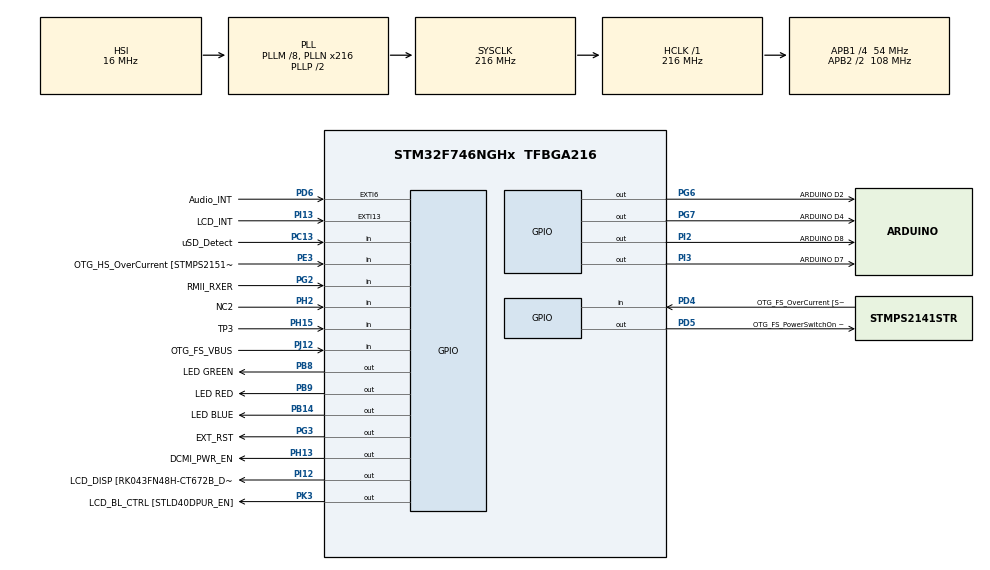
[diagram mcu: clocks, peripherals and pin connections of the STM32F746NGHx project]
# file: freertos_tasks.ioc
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Mcu.Family=STM32F7
Mcu.Name=STM32F746NGHx
Mcu.Package=TFBGA216
NVIC.PriorityGroup=NVIC_PRIORITYGROUP_4
NVIC.TIM6_DAC_IRQn=true\:15\:0\:false\:false\:true\:false\:true\:true
NVIC.TimeBase=TIM6_DAC_IRQn
NVIC.TimeBaseIP=TIM6
PA0/WKUP.GPIO_Label=ARDUINO A0
PA0/WKUP.GPIO_Mode=GPIO_MODE_ANALOG
PA0/WKUP.GPIO_PuPd=GPIO_NOPULL
PA0/WKUP.Signal=ADCx_IN0
PA1.GPIO_Label=RMII_REF_CLK [LAN8742A-CZ-TR_REFCLK0]
PA1.Signal=ETH_REF_CLK
PA10.GPIO_Label=OTG_FS_ID
PA10.Signal=USB_OTG_FS_ID
PA11.GPIO_Label=OTG_FS_N
PA11.Signal=USB_OTG_FS_DM
PA12.GPIO_Label=OTG_FS_P
PA12.Signal=USB_OTG_FS_DP
PA13.GPIO_Label=SWDIO
PA13.Signal=SYS_JTMS-SWDIO
PA14.GPIO_Label=SWCLK
PA14.Signal=SYS_JTCK-SWCLK
PA15.GPIO_Label=ARDUINO PWM/D9
PA15.GPIO_ModeDefaultPP=GPIO_MODE_AF_PP
PA15.GPIO_PuPd=GPIO_NOPULL
PA15.GPIO_Speed=GPIO_SPEED_FREQ_LOW
PA15.Signal=S_TIM2_CH1_ETR
PA2.GPIO_Label=RMII_MDIO [LAN8742A-CZ-TR_MDIO]
PA2.Signal=ETH_MDIO
PA3.GPIO_Label=ULPI_D0 [USB3320C-EZK_D0]
PA3.Signal=USB_OTG_HS_ULPI_D0
PA4.GPIO_Label=DCMI_HSYNC
PA4.Signal=DCMI_HSYNC
PA5.GPIO_Label=ULPI_CLK [USB3320C-EZK_CLKOUT]
PA5.Signal=USB_OTG_HS_ULPI_CK
PA6.Signal=DCMI_PIXCLK
PA7.GPIO_Label=RMII_CRS_DV [LAN8742A-CZ-TR_CRS_DV]
PA7.Signal=ETH_CRS_DV
PA8.GPIO_Label=ARDUINO PWM/D10
PA8.GPIO_ModeDefaultPP=GPIO_MODE_AF_PP
PA8.GPIO_PuPd=GPIO_NOPULL
PA8.GPIO_Speed=GPIO_SPEED_FREQ_LOW
PA8.Signal=S_TIM1_CH1
PA9.GPIO_Label=VCP_TX [STM32F103CBT6_PA3]
PA9.GPIO_Mode=GPIO_MODE_AF_PP
PA9.GPIO_PuPd=GPIO_NOPULL
PA9.GPIO_Speed=GPIO_SPEED_FREQ_LOW
PA9.Signal=USART1_TX
PB0.GPIO_Label=ULPI_D1 [USB3320C-EZK_D1]
PB0.Signal=USB_OTG_HS_ULPI_D1
PB1.GPIO_Label=ULPI_D2 [USB3320C-EZK_D2]
PB1.Signal=USB_OTG_HS_ULPI_D2
PB10.GPIO_Label=ULPI_D3 [USB3320C-EZK_D3]
PB10.Signal=USB_OTG_HS_ULPI_D3
PB11.GPIO_Label=ULPI_D4 [USB3320C-EZK_D4]
PB11.Signal=USB_OTG_HS_ULPI_D4
PB12.GPIO_Label=ULPI_D5 [USB3320C-EZK_D5]
PB12.Signal=USB_OTG_HS_ULPI_D5
PB13.GPIO_Label=ULPI_D6 [USB3320C-EZK_D6]
PB13.Signal=USB_OTG_HS_ULPI_D6
PB14.GPIO_Label=LED BLUE
PB14.Signal=GPIO_Output
PB15.GPIO_Label=ARDUINO MOSI/PWM/D11
PB15.GPIO_Mode=GPIO_MODE_AF_PP
PB15.GPIO_PuPd=GPIO_NOPULL
PB15.GPIO_Speed=GPIO_SPEED_FREQ_LOW
PB15.Signal=SPI2_MOSI
PB2.Signal=QUADSPI_CLK
PB3.GPIO_Label=SWO
PB3.Signal=SYS_JTDO-SWO
PB4.GPIO_Label=ARDUINO PWM/D3
PB4.GPIO_ModeDefaultPP=GPIO_MODE_AF_PP
PB4.GPIO_PuPd=GPIO_NOPULL
PB4.GPIO_Speed=GPIO_SPEED_FREQ_LOW
PB4.Signal=S_TIM3_CH1
PB5.GPIO_Label=ULPI_D7 [USB3320C-EZK_D7]
PB5.Signal=USB_OTG_HS_ULPI_D7
PB6.GPIO_Label=QSPI_NCS [N25Q128A13EF840E_S]
PB6.Signal=QUADSPI_BK1_NCS
PB7.GPIO_Label=VCP_RX [STM32F103CBT6_PA2]
PB7.GPIO_Mode=GPIO_MODE_AF_PP
PB7.GPIO_PuPd=GPIO_NOPULL
PB7.GPIO_Speed=GPIO_SPEED_FREQ_LOW
PB7.Signal=USART1_RX
PB8.GPIO_Label=LED GREEN
PB8.Signal=GPIO_Output
PB9.GPIO_Label=LED RED
PB9.Signal=GPIO_Output
PC0.GPIO_Label=ULPI_STP [USB3320C-EZK_STP]
PC0.Signal=USB_OTG_HS_ULPI_STP
PC1.GPIO_Label=RMII_MDC [LAN8742A-CZ-TR_MDC]
PC1.Signal=ETH_MDC
PC10.GPIO_Label=SDMMC_D2
PC10.Signal=SDMMC1_D2
PC11.GPIO_Label=SDMMC_D3
PC11.Signal=SDMMC1_D3
PC12.GPIO_Label=SDMMC_CK
PC12.Signal=SDMMC1_CK
PC13.GPIO_Label=uSD_Detect
PC13.Signal=GPIO_Input
PC14/OSC32_IN.GPIO_Label=RCC_OSC32_IN
PC14/OSC32_IN.Signal=RCC_OSC32_IN
PC15/OSC32_OUT.GPIO_Label=RCC_OSC32_OUT
PC15/OSC32_OUT.Signal=RCC_OSC32_OUT
PC2.GPIO_Label=ULPI_DIR [USB3320C-EZK_DIR]
PC2.Signal=USB_OTG_HS_ULPI_DIR
PC3.GPIO_Label=FMC_SDCKE0 [MT48LC4M32B2B5-6A_CKE]
PC3.Signal=FMC_SDCKE0
PC4.GPIO_Label=RMII_RXD0 [LAN8742A-CZ-TR_RXD0]
PC4.Signal=ETH_RXD0
PC5.GPIO_Label=RMII_RXD1 [LAN8742A-CZ-TR_RXD1]
PC5.Signal=ETH_RXD1
PC6.GPIO_Label=ARDUINO TX/D1
PC6.Signal=USART6_TX
PC7.GPIO_Label=ARDUINO RX/D0
PC7.Signal=USART6_RX
PC8.Signal=SDMMC1_D0
PC9.Signal=SDMMC1_D1
PD0.GPIO_Label=FMC_D2 [MT48LC4M32B2B5-6A_DQ2]
PD0.Signal=FMC_D2_DA2
PD1.GPIO_Label=FMC_D3 [MT48LC4M32B2B5-6A_DQ3]
PD1.Signal=FMC_D3_DA3
PD10.GPIO_Label=FMC_D15 [MT48LC4M32B2B5-6A_DQ15]
PD10.Signal=FMC_D15_DA15
PD11.GPIO_Label=QSPI_D0 [N25Q128A13EF840E_DQ0]
PD11.Signal=QUADSPI_BK1_IO0
PD12.GPIO_Label=QSPI_D1 [N25Q128A13EF840E_DQ1]
PD12.Signal=QUADSPI_BK1_IO1
PD13.GPIO_Label=QSPI_D3 [N25Q128A13EF840E_DQ3]
PD13.Signal=QUADSPI_BK1_IO3
PD14.GPIO_Label=FMC_D0 [MT48LC4M32B2B5-6A_DQ0]
PD14.Signal=FMC_D0_DA0
PD15.GPIO_Label=FMC_D1 [MT48LC4M32B2B5-6A_DQ1]
PD15.Signal=FMC_D1_DA1
PD2.GPIO_Label=SDMMC_D0
PD2.Signal=SDMMC1_CMD
PD3.GPIO_Label=DCMI_D5
PD3.Signal=DCMI_D5
PD4.GPIO_Label=OTG_FS_OverCurrent [STMPS2141STR_Fault]
PD4.Signal=GPIO_Input
PD5.GPIO_Label=OTG_FS_PowerSwitchOn [STMPS2141STR_EN]
PD5.PinState=GPIO_PIN_SET
PD5.Signal=GPIO_Output
PD6.GPIO_Label=Audio_INT
PD6.GPIO_ModeDefaultEXTI=GPIO_MODE_EVT_RISING
PD6.Signal=GPXTI6
PD7.GPIO_Label=SPDIF_RX0 [74LVC1G04SE_4]
PD7.Signal=SPDIFRX_IN0
PD8.GPIO_Label=FMC_D13 [MT48LC4M32B2B5-6A_DQ13]
PD8.Signal=FMC_D13_DA13
PD9.GPIO_Label=FMC_D14 [MT48LC4M32B2B5-6A_DQ14]
PD9.Signal=FMC_D14_DA14
PE0.GPIO_Label=FMC_NBL0 [MT48LC4M32B2B5-6A_DQM0]
PE0.Signal=FMC_NBL0
PE1.GPIO_Label=FMC_NBL1 [MT48LC4M32B2B5-6A_DQM1]
PE1.Signal=FMC_NBL1
PE10.GPIO_Label=FMC_D7 [MT48LC4M32B2B5-6A_DQ7]
PE10.Signal=FMC_D7_DA7
PE11.GPIO_Label=FMC_D8 [MT48LC4M32B2B5-6A_DQ8]
PE11.Signal=FMC_D8_DA8
PE12.GPIO_Label=FMC_D9 [MT48LC4M32B2B5-6A_DQ9]
PE12.Signal=FMC_D9_DA9
PE13.GPIO_Label=FMC_D10 [MT48LC4M32B2B5-6A_DQ10]
PE13.Signal=FMC_D10_DA10
PE14.GPIO_Label=FMC_D11 [MT48LC4M32B2B5-6A_DQ11]
PE14.Signal=FMC_D11_DA11
PE15.GPIO_Label=FMC_D12 [MT48LC4M32B2B5-6A_DQ12]
PE15.Signal=FMC_D12_DA12
PE2.GPIO_Label=QSPI_D2 [N25Q128A13EF840E_DQ2]
PE2.Signal=QUADSPI_BK1_IO2
PE3.GPIO_Label=OTG_HS_OverCurrent [STMPS2151STR_FAULT]
PE3.Signal=GPIO_Input
PE4.GPIO_Label=LCD_B0 [RK043FN48H-CT672B_B0]
PE4.Signal=LTDC_B0
PE5.GPIO_Label=DCMI_D6
PE5.Signal=DCMI_D6
PE6.GPIO_Label=DCMI_D7
PE6.Signal=DCMI_D7
PE7.GPIO_Label=FMC_D4 [MT48LC4M32B2B5-6A_DQ4]
PE7.Signal=FMC_D4_DA4
PE8.GPIO_Label=FMC_D5 [MT48LC4M32B2B5-6A_DQ5]
PE8.Signal=FMC_D5_DA5
PE9.GPIO_Label=FMC_D6 [MT48LC4M32B2B5-6A_DQ6]
PE9.Signal=FMC_D6_DA6
PF0.GPIO_Label=FMC_A0 [MT48LC4M32B2B5-6A_A0]
PF0.Signal=FMC_A0
PF1.GPIO_Label=FMC_A1 [MT48LC4M32B2B5-6A_A1]
PF1.Signal=FMC_A1
PF10.GPIO_Label=ARDUINO A1
PF10.GPIO_Mode=GPIO_MODE_ANALOG
PF10.GPIO_PuPd=GPIO_NOPULL
PF10.Signal=ADC3_IN8
PF11.GPIO_Label=FMC_SDNRAS [MT48LC4M32B2B5-6A_RAS]
PF11.Signal=FMC_SDNRAS
PF12.GPIO_Label=FMC_A6 [MT48LC4M32B2B5-6A_A6]
PF12.Signal=FMC_A6
PF13.GPIO_Label=FMC_A7 [MT48LC4M32B2B5-6A_A7]
PF13.Signal=FMC_A7
PF14.GPIO_Label=FMC_A8 [MT48LC4M32B2B5-6A_A8]
PF14.Signal=FMC_A8
PF15.GPIO_Label=FMC_A9 [MT48LC4M32B2B5-6A_A9]
PF15.Signal=FMC_A9
PF2.GPIO_Label=FMC_A2 [MT48LC4M32B2B5-6A_A2]
PF2.Signal=FMC_A2
PF3.GPIO_Label=FMC_A3 [MT48LC4M32B2B5-6A_A3]
PF3.Signal=FMC_A3
PF4.GPIO_Label=FMC_A4 [MT48LC4M32B2B5-6A_A4]
PF4.Signal=FMC_A4
PF5.GPIO_Label=FMC_A5 [MT48LC4M32B2B5-6A_A5]
PF5.Signal=FMC_A5
PF6.GPIO_Label=ARDUINO A5
PF6.GPIO_Mode=GPIO_MODE_ANALOG
PF6.GPIO_PuPd=GPIO_NOPULL
PF6.Signal=ADC3_IN4
PF7.GPIO_Label=ARDUINO A4
PF7.GPIO_Mode=GPIO_MODE_ANALOG
PF7.GPIO_PuPd=GPIO_NOPULL
PF7.Signal=ADC3_IN5
PF8.GPIO_Label=ARDUINO A3
PF8.GPIO_Mode=GPIO_MODE_ANALOG
PF8.GPIO_PuPd=GPIO_NOPULL
PF8.Signal=ADC3_IN6
PF9.GPIO_Label=ARDUINO A2
PF9.GPIO_Mode=GPIO_MODE_ANALOG
PF9.GPIO_PuPd=GPIO_NOPULL
PF9.Signal=ADC3_IN7
PG0.GPIO_Label=FMC_A10 [MT48LC4M32B2B5-6A_A10]
PG0.Signal=FMC_A10
PG1.GPIO_Label=FMC_A11 [MT48LC4M32B2B5-6A_A11]
PG1.Signal=FMC_A11
PG10.GPIO_Label=SAI2_SDB [WM8994ECS/R_ADCDAT1]
PG10.Signal=SAI2_SD_B
PG11.GPIO_Label=RMII_TX_EN [LAN8742A-CZ-TR_TXEN]
PG11.Signal=ETH_TX_EN
PG12.GPIO_Label=LCD_B4 [RK043FN48H-CT672B_B4]
PG12.Signal=LTDC_B4
PG13.GPIO_Label=RMII_TXD0 [LAN8742A-CZ-TR_TXD0]
PG13.Signal=ETH_TXD0
PG14.GPIO_Label=RMII_TXD1 [LAN8742A-CZ-TR_TXD1]
PG14.Signal=ETH_TXD1
PG15.GPIO_Label=FMC_SDNCAS [MT48LC4M32B2B5-6A_CAS]
PG15.Signal=FMC_SDNCAS
PG2.GPIO_Label=RMII_RXER
PG2.Signal=GPIO_Input
PG3.GPIO_Label=EXT_RST
PG3.Signal=GPIO_Output
PG4.GPIO_Label=FMC_BA0 [MT48LC4M32B2B5-6A_BA0]
PG4.Signal=FMC_A14_BA0
PG5.GPIO_Label=FMC_BA1 [MT48LC4M32B2B5-6A_BA1]
PG5.Signal=FMC_A15_BA1
PG6.GPIO_Label=ARDUINO D2
PG6.Signal=GPIO_Output
PG7.GPIO_Label=ARDUINO D4
PG7.Signal=GPIO_Output
PG8.GPIO_Label=FMC_SDCLK [MT48LC4M32B2B5-6A_CLK]
PG8.Signal=FMC_SDCLK
PG9.GPIO_Label=DCMI_VSYNC
PG9.Signal=DCMI_VSYNC
PH0/OSC_IN.GPIO_Label=OSC_25M [NZ2520SB-25.00M_OUT]
PH0/OSC_IN.Signal=RCC_OSC_IN
PH1/OSC_OUT.Signal=RCC_OSC_OUT
PH10.GPIO_Label=DCMI_D1
PH10.Signal=DCMI_D1
PH11.GPIO_Label=DCMI_D2
PH11.Signal=DCMI_D2
PH12.GPIO_Label=DCMI_D3
PH12.Signal=DCMI_D3
PH13.GPIO_Label=DCMI_PWR_EN
PH13.Signal=GPIO_Output
PH14.GPIO_Label=DCMI_D4
PH14.Signal=DCMI_D4
PH15.GPIO_Label=TP3
PH15.Signal=GPIO_Input
PH2.GPIO_Label=NC2
PH2.Signal=GPIO_Input
PH3.GPIO_Label=FMC_SDNE0 [MT48LC4M32B2B5-6A_CS]
PH3.Signal=FMC_SDNE0
PH4.GPIO_Label=ULPI_NXT [USB3320C-EZK_NXT]
PH4.Signal=USB_OTG_HS_ULPI_NXT
PH5.GPIO_Label=FMC_SDNME [MT48LC4M32B2B5-6A_WE]
PH5.Signal=FMC_SDNWE
PH6.GPIO_Label=ARDUINO PWM/D6
PH6.Signal=S_TIM12_CH1
PH7.GPIO_Label=LCD_SCL [RK043FN48H-CT672B_SCL]
PH7.Signal=I2C3_SCL
PH8.GPIO_Label=LCD_SDA [RK043FN48H-CT672B_SDA]
PH8.Signal=I2C3_SDA
PH9.GPIO_Label=DCMI_D0
PH9.Signal=DCMI_D0
PI0.GPIO_Label=ARDUINO PWM/CS/D5
PI0.GPIO_ModeDefaultPP=GPIO_MODE_AF_PP
PI0.GPIO_PuPd=GPIO_NOPULL
PI0.GPIO_Speed=GPIO_SPEED_FREQ_LOW
PI0.Signal=S_TIM5_CH4
PI1.GPIO_Label=ARDUINO SCK/D13
PI1.GPIO_Mode=GPIO_MODE_AF_PP
PI1.GPIO_PuPd=GPIO_NOPULL
PI1.GPIO_Speed=GPIO_SPEED_FREQ_LOW
PI1.Signal=SPI2_SCK
PI10.GPIO_Label=LCD_HSYNC [RK043FN48H-CT672B_HSYNC]
PI10.Signal=LTDC_HSYNC
PI12.GPIO_Label=LCD_DISP [RK043FN48H-CT672B_DISP] 
PI12.Signal=GPIO_Output
PI13.GPIO_Label=LCD_INT
PI13.GPIO_ModeDefaultEXTI=GPIO_MODE_EVT_RISING
PI13.Signal=GPXTI13
PI14.GPIO_Label=LCD_CLK [RK043FN48H-CT672B_CLK]
PI14.Signal=LTDC_CLK
PI15.GPIO_Label=LCD_R0 [RK043FN48H-CT672B_R0]
PI15.Signal=LTDC_R0
PI2.GPIO_Label=ARDUINO D8
PI2.Signal=GPIO_Output
PI3.GPIO_Label=ARDUINO D7
PI3.Signal=GPIO_Output
PI4.GPIO_Label=SAI2_MCLKA [WM8994ECS/R_MCLK1]
PI4.Signal=SAI2_MCLK_A
PI5.GPIO_Label=SAI2_SCKA [WM8994ECS/R_BCLK1]
PI5.Signal=SAI2_SCK_A
PI6.GPIO_Label=SAI2_SDA [WM8994ECS/R_DACDAT1]
PI6.Signal=SAI2_SD_A
PI7.GPIO_Label=SAI2_FSA [WM8994ECS/R_LRCLK1]
PI7.Signal=SAI2_FS_A
PI8.GPIO_Label=NC1 [TP2]
PI8.Signal=RTC_TS
PI9.GPIO_Label=LCD_VSYNC [RK043FN48H-CT672B_VSYNC]
PI9.Signal=LTDC_VSYNC
PJ0.GPIO_Label=LCD_R1 [RK043FN48H-CT672B_R1]
PJ0.Signal=LTDC_R1
PJ1.GPIO_Label=LCD_R2 [RK043FN48H-CT672B_R2]
PJ1.Signal=LTDC_R2
PJ10.GPIO_Label=LCD_G3 [RK043FN48H-CT672B_G3]
PJ10.Signal=LTDC_G3
PJ11.GPIO_Label=LCD_G4 [RK043FN48H-CT672B_G4]
PJ11.Signal=LTDC_G4
PJ12.GPIO_Label=OTG_FS_VBUS
PJ12.Signal=GPIO_Input
PJ13.GPIO_Label=LCD_B1 [RK043FN48H-CT672B_B1]
PJ13.Signal=LTDC_B1
PJ14.GPIO_Label=LCD_B2 [RK043FN48H-CT672B_B2]
PJ14.Signal=LTDC_B2
PJ15.GPIO_Label=LCD_B3 [RK043FN48H-CT672B_B3]
PJ15.Signal=LTDC_B3
PJ2.GPIO_Label=LCD_R3 [RK043FN48H-CT672B_R3]
PJ2.Signal=LTDC_R3
PJ3.GPIO_Label=LCD_R4 [RK043FN48H-CT672B_R4]
PJ3.Signal=LTDC_R4
PJ4.GPIO_Label=LCD_R5 [RK043FN48H-CT672B_R5]
PJ4.Signal=LTDC_R5
PJ5.GPIO_Label=LCD_R6 [RK043FN48H-CT672B_R6]
PJ5.Signal=LTDC_R6
PJ6.GPIO_Label=LCD_R7 [RK043FN48H-CT672B_R7]
PJ6.Signal=LTDC_R7
PJ7.GPIO_Label=LCD_G0 [RK043FN48H-CT672B_G0]
PJ7.Signal=LTDC_G0
PJ8.GPIO_Label=LCD_G1 [RK043FN48H-CT672B_G1]
PJ8.Signal=LTDC_G1
PJ9.GPIO_Label=LCD_G2 [RK043FN48H-CT672B_G2]
PJ9.Signal=LTDC_G2
PK0.GPIO_Label=LCD_G5 [RK043FN48H-CT672B_G5]
PK0.Signal=LTDC_G5
PK1.GPIO_Label=LCD_G6 [RK043FN48H-CT672B_G6]
PK1.Signal=LTDC_G6
PK2.GPIO_Label=LCD_G7 [RK043FN48H-CT672B_G7]
PK2.Signal=LTDC_G7
PK3.GPIO_Label=LCD_BL_CTRL [STLD40DPUR_EN]
PK3.Signal=GPIO_Output
PK4.GPIO_Label=LCD_B5 [RK043FN48H-CT672B_B5]
PK4.Signal=LTDC_B5
PK5.GPIO_Label=LCD_B6 [RK043FN48H-CT672B_B6]
PK5.Signal=LTDC_B6
PK6.GPIO_Label=LCD_B7 [RK043FN48H-CT672B_B7]
PK6.Signal=LTDC_B7
PK7.GPIO_Label=LCD_DE [RK043FN48H-CT672B_DE]
PK7.Signal=LTDC_DE
ProjectManager.HeapSize=0x200
ProjectManager.StackSize=0x400
ProjectManager.TargetToolchain=STM32CubeIDE
RCC.AHBFreq_Value=216000000
RCC.APB1CLKDivider=RCC_HCLK_DIV4
RCC.APB1Freq_Value=54000000
RCC.APB1TimFreq_Value=108000000
RCC.APB2CLKDivider=RCC_HCLK_DIV2
RCC.APB2Freq_Value=108000000
RCC.APB2TimFreq_Value=216000000
RCC.CortexFreq_Value=216000000
RCC.HCLKFreq_Value=216000000
RCC.HSE_VALUE=25000000
RCC.HSI_VALUE=16000000
RCC.LSE_VALUE=32768
RCC.PLLM=8
RCC.PLLN=216
RCC.PLLSourceVirtual=RCC_PLLSOURCE_HSI
RCC.SYSCLKFreq_VALUE=216000000
RCC.SYSCLKSource=RCC_SYSCLKSOURCE_PLLCLK
RCC.USBFreq_Value=216000000
RCC.VCOOutputFreq_Value=432000000
SH.ADCx_IN0.0=ADC3_IN0
SH.FMC_A0.0=FMC_A0
SH.FMC_A1.0=FMC_A1
SH.FMC_A10.0=FMC_A10
SH.FMC_A11.0=FMC_A11
SH.FMC_A14_BA0.0=FMC_BA0
SH.FMC_A15_BA1.0=FMC_BA1
SH.FMC_A2.0=FMC_A2
SH.FMC_A3.0=FMC_A3
SH.FMC_A4.0=FMC_A4
SH.FMC_A5.0=FMC_A5
SH.FMC_A6.0=FMC_A6
SH.FMC_A7.0=FMC_A7
SH.FMC_A8.0=FMC_A8
SH.FMC_A9.0=FMC_A9
SH.FMC_D0_DA0.0=FMC_D0
SH.FMC_D10_DA10.0=FMC_D10
SH.FMC_D11_DA11.0=FMC_D11
SH.FMC_D12_DA12.0=FMC_D12
SH.FMC_D13_DA13.0=FMC_D13
SH.FMC_D14_DA14.0=FMC_D14
SH.FMC_D15_DA15.0=FMC_D15
SH.FMC_D1_DA1.0=FMC_D1
SH.FMC_D2_DA2.0=FMC_D2
SH.FMC_D3_DA3.0=FMC_D3
SH.FMC_D4_DA4.0=FMC_D4
SH.FMC_D5_DA5.0=FMC_D5
SH.FMC_D6_DA6.0=FMC_D6
SH.FMC_D7_DA7.0=FMC_D7
SH.FMC_D8_DA8.0=FMC_D8
SH.FMC_D9_DA9.0=FMC_D9
SH.FMC_NBL0.0=FMC_NBL0
SH.FMC_NBL1.0=FMC_NBL1
SH.FMC_SDCLK.0=FMC_SDCLK
SH.FMC_SDNCAS.0=FMC_SDNCAS
SH.FMC_SDNRAS.0=FMC_SDNRAS
SH.FMC_SDNWE.0=FMC_SDNWE
SH.S_TIM12_CH1.0=TIM12_CH1
SH.S_TIM1_CH1.0=TIM1_CH1
SH.S_TIM2_CH1_ETR.0=TIM2_CH1
SH.S_TIM3_CH1.0=TIM3_CH1
SH.S_TIM5_CH4.0=TIM5_CH4
VP_SYS_VS_tim6.Mode=TIM6
board=STM32F746G-DISCO

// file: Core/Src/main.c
/* USER CODE BEGIN Header */
/**
  ******************************************************************************
  * @file           : main.c
  * @brief          : Main program body
  ******************************************************************************
  * @attention
  *
  * Copyright (c) 2023 STMicroelectronics.
  * All rights reserved.
  *
  * This software is licensed under terms that can be found in the LICENSE file
  * in the root directory of this software component.
  * If no LICENSE file comes with this software, it is provided AS-IS.
  *
  ******************************************************************************
  */
/* USER CODE END Header */
#include "main.h"

/* USER CODE BEGIN Includes */
#include <stdio.h>
#include "FreeRTOS.h"
#include "task.h"
/* USER CODE END Includes */

/* USER CODE BEGIN PM */
#define SYSVIEW_RTT				0
#define SYSVIEW_ONE_SHOT		1
/* USER CODE END PM */

/* USER CODE BEGIN PV */
#define DWT_CTRL    (*(volatile uint32_t*)0xE0001000)
/* USER CODE END PV */

void SystemClock_Config(void);
static void MX_GPIO_Init(void);
/* USER CODE BEGIN PFP */
static void task1_handler (void* parameters);
static void task2_handler (void* parameters);

extern  void SEGGER_UART_init(uint32_t);
/* USER CODE END PFP */

int main(void)
{
  /* USER CODE BEGIN 1 */
  TaskHandle_t task1_handle;
  TaskHandle_t task2_handle;

  BaseType_t status;
  /* USER CODE END 1 */

  /* MCU Configuration--------------------------------------------------------*/

  /* Reset of all peripherals, Initializes the Flash interface and the Systick. */
  HAL_Init();

  /* Configure the system clock */
  SystemClock_Config();

  /* Initialize all configured peripherals */
  MX_GPIO_Init();
  /* USER CODE BEGIN 2 */

  //Enable the CYCCNT counter.

  DWT_CTRL |= ( 1 << 0);

#if (SYSVIEW_RTT == 1)
  SEGGER_UART_init(500000);
  SEGGER_SYSVIEW_Conf();
#endif

#if (SYSVIEW_ONE_SHOT == 1)
  SEGGER_SYSVIEW_Conf();
  SEGGER_SYSVIEW_Start();
#endif

  status = xTaskCreate(task1_handler, "Task-1", 200, "Hello World from Task-1", 2, &task1_handle);

  configASSERT(status == pdPASS);

  status = xTaskCreate(task2_handler, "Task-2", 200, "Hello World from Task-2", 2, &task2_handle);

  configASSERT(status == pdPASS);

  //start scheduler

  vTaskStartScheduler();
  /* USER CODE END 2 */

  /* Infinite loop */
  while (1)
  {

  }
}

void SystemClock_Config(void)
{
  RCC_OscInitTypeDef RCC_OscInitStruct = {0};
  RCC_ClkInitTypeDef RCC_ClkInitStruct = {0};

  /** Configure the main internal regulator output voltage
  */
  __HAL_RCC_PWR_CLK_ENABLE();
  __HAL_PWR_VOLTAGESCALING_CONFIG(PWR_REGULATOR_VOLTAGE_SCALE1);

  /** Initializes the RCC Oscillators according to the specified parameters
  * in the RCC_OscInitTypeDef structure.
  */
  RCC_OscInitStruct.OscillatorType = RCC_OSCILLATORTYPE_HSI;
  RCC_OscInitStruct.HSIState = RCC_HSI_ON;
  RCC_OscInitStruct.HSICalibrationValue = RCC_HSICALIBRATION_DEFAULT;
  RCC_OscInitStruct.PLL.PLLState = RCC_PLL_ON;
  RCC_OscInitStruct.PLL.PLLSource = RCC_PLLSOURCE_HSI;
  RCC_OscInitStruct.PLL.PLLM = 8;
  RCC_OscInitStruct.PLL.PLLN = 216;
  RCC_OscInitStruct.PLL.PLLP = RCC_PLLP_DIV2;
  RCC_OscInitStruct.PLL.PLLQ = 2;
  if (HAL_RCC_OscConfig(&RCC_OscInitStruct) != HAL_OK)
  {
    Error_Handler();
  }

  /** Activate the Over-Drive mode
  */
  if (HAL_PWREx_EnableOverDrive() != HAL_OK)
  {
    Error_Handler();
  }

  /** Initializes the CPU, AHB and APB buses clocks
  */
  RCC_ClkInitStruct.ClockType = RCC_CLOCKTYPE_HCLK|RCC_CLOCKTYPE_SYSCLK
                              |RCC_CLOCKTYPE_PCLK1|RCC_CLOCKTYPE_PCLK2;
  RCC_ClkInitStruct.SYSCLKSource = RCC_SYSCLKSOURCE_PLLCLK;
  RCC_ClkInitStruct.AHBCLKDivider = RCC_SYSCLK_DIV1;
  RCC_ClkInitStruct.APB1CLKDivider = RCC_HCLK_DIV4;
  RCC_ClkInitStruct.APB2CLKDivider = RCC_HCLK_DIV2;

  if (HAL_RCC_ClockConfig(&RCC_ClkInitStruct, FLASH_LATENCY_7) != HAL_OK)
  {
    Error_Handler();
  }
}

static void MX_GPIO_Init(void)
{
  GPIO_InitTypeDef GPIO_InitStruct = {0};

  /* GPIO Ports Clock Enable */
  __HAL_RCC_GPIOE_CLK_ENABLE();
  __HAL_RCC_GPIOG_CLK_ENABLE();
  __HAL_RCC_GPIOB_CLK_ENABLE();
  __HAL_RCC_GPIOD_CLK_ENABLE();
  __HAL_RCC_GPIOC_CLK_ENABLE();
  __HAL_RCC_GPIOA_CLK_ENABLE();
  __HAL_RCC_GPIOJ_CLK_ENABLE();
  __HAL_RCC_GPIOI_CLK_ENABLE();
  __HAL_RCC_GPIOK_CLK_ENABLE();
  __HAL_RCC_GPIOF_CLK_ENABLE();
  __HAL_RCC_GPIOH_CLK_ENABLE();

  /*Configure GPIO pin Output Level */
  HAL_GPIO_WritePin(GPIOB, LED_GREEN_Pin|LED_RED_Pin|LED_BLUE_Pin, GPIO_PIN_RESET);

  /*Configure GPIO pin Output Level */
  HAL_GPIO_WritePin(OTG_FS_PowerSwitchOn_GPIO_Port, OTG_FS_PowerSwitchOn_Pin, GPIO_PIN_SET);

  /*Configure GPIO pin Output Level */
  HAL_GPIO_WritePin(GPIOI, ARDUINO_D7_Pin|ARDUINO_D8_Pin|LCD_DISP_Pin, GPIO_PIN_RESET);

  /*Configure GPIO pin Output Level */
  HAL_GPIO_WritePin(LCD_BL_CTRL_GPIO_Port, LCD_BL_CTRL_Pin, GPIO_PIN_RESET);

  /*Configure GPIO pin Output Level */
  HAL_GPIO_WritePin(DCMI_PWR_EN_GPIO_Port, DCMI_PWR_EN_Pin, GPIO_PIN_RESET);

  /*Configure GPIO pin Output Level */
  HAL_GPIO_WritePin(GPIOG, ARDUINO_D4_Pin|ARDUINO_D2_Pin|EXT_RST_Pin, GPIO_PIN_RESET);

  /*Configure GPIO pin : LCD_B0_Pin */
  GPIO_InitStruct.Pin = LCD_B0_Pin;
  GPIO_InitStruct.Mode = GPIO_MODE_AF_PP;
  GPIO_InitStruct.Pull = GPIO_NOPULL;
  GPIO_InitStruct.Speed = GPIO_SPEED_FREQ_LOW;
  GPIO_InitStruct.Alternate = GPIO_AF14_LTDC;
  HAL_GPIO_Init(LCD_B0_GPIO_Port, &GPIO_InitStruct);

  /*Configure GPIO pin : OTG_HS_OverCurrent_Pin */
  GPIO_InitStruct.Pin = OTG_HS_OverCurrent_Pin;
  GPIO_InitStruct.Mode = GPIO_MODE_INPUT;
  GPIO_InitStruct.Pull = GPIO_NOPULL;
  HAL_GPIO_Init(OTG_HS_OverCurrent_GPIO_Port, &GPIO_InitStruct);

  /*Configure GPIO pin : QSPI_D2_Pin */
  GPIO_InitStruct.Pin = QSPI_D2_Pin;
  GPIO_InitStruct.Mode = GPIO_MODE_AF_PP;
  GPIO_InitStruct.Pull = GPIO_NOPULL;
  GPIO_InitStruct.Speed = GPIO_SPEED_FREQ_VERY_HIGH;
  GPIO_InitStruct.Alternate = GPIO_AF9_QUADSPI;
  HAL_GPIO_Init(QSPI_D2_GPIO_Port, &GPIO_InitStruct);

  /*Configure GPIO pins : RMII_TXD1_Pin RMII_TXD0_Pin RMII_TX_EN_Pin */
  GPIO_InitStruct.Pin = RMII_TXD1_Pin|RMII_TXD0_Pin|RMII_TX_EN_Pin;
  GPIO_InitStruct.Mode = GPIO_MODE_AF_PP;
  GPIO_InitStruct.Pull = GPIO_NOPULL;
  GPIO_InitStruct.Speed = GPIO_SPEED_FREQ_VERY_HIGH;
  GPIO_InitStruct.Alternate = GPIO_AF11_ETH;
  HAL_GPIO_Init(GPIOG, &GPIO_InitStruct);

  /*Configure GPIO pins : FMC_NBL1_Pin FMC_NBL0_Pin FMC_D5_Pin FMC_D6_Pin
                           FMC_D8_Pin FMC_D11_Pin FMC_D4_Pin FMC_D7_Pin
                           FMC_D9_Pin FMC_D12_Pin FMC_D10_Pin */
  GPIO_InitStruct.Pin = FMC_NBL1_Pin|FMC_NBL0_Pin|FMC_D5_Pin|FMC_D6_Pin
                          |FMC_D8_Pin|FMC_D11_Pin|FMC_D4_Pin|FMC_D7_Pin
                          |FMC_D9_Pin|FMC_D12_Pin|FMC_D10_Pin;
  GPIO_InitStruct.Mode = GPIO_MODE_AF_PP;
  GPIO_InitStruct.Pull = GPIO_NOPULL;
  GPIO_InitStruct.Speed = GPIO_SPEED_FREQ_VERY_HIGH;
  GPIO_InitStruct.Alternate = GPIO_AF12_FMC;
  HAL_GPIO_Init(GPIOE, &GPIO_InitStruct);

  /*Configure GPIO pins : LED_GREEN_Pin LED_RED_Pin LED_BLUE_Pin */
  GPIO_InitStruct.Pin = LED_GREEN_Pin|LED_RED_Pin|LED_BLUE_Pin;
  GPIO_InitStruct.Mode = GPIO_MODE_OUTPUT_PP;
  GPIO_InitStruct.Pull = GPIO_NOPULL;
  GPIO_InitStruct.Speed = GPIO_SPEED_FREQ_LOW;
  HAL_GPIO_Init(GPIOB, &GPIO_InitStruct);

  /*Configure GPIO pins : ULPI_D7_Pin ULPI_D6_Pin ULPI_D5_Pin ULPI_D3_Pin
                           ULPI_D2_Pin ULPI_D1_Pin ULPI_D4_Pin */
  GPIO_InitStruct.Pin = ULPI_D7_Pin|ULPI_D6_Pin|ULPI_D5_Pin|ULPI_D3_Pin
                          |ULPI_D2_Pin|ULPI_D1_Pin|ULPI_D4_Pin;
  GPIO_InitStruct.Mode = GPIO_MODE_AF_PP;
  GPIO_InitStruct.Pull = GPIO_NOPULL;
  GPIO_InitStruct.Speed = GPIO_SPEED_FREQ_VERY_HIGH;
  GPIO_InitStruct.Alternate = GPIO_AF10_OTG_HS;
  HAL_GPIO_Init(GPIOB, &GPIO_InitStruct);

  /*Configure GPIO pin : ARDUINO_PWM_D3_Pin */
  GPIO_InitStruct.Pin = ARDUINO_PWM_D3_Pin;
  GPIO_InitStruct.Mode = GPIO_MODE_AF_PP;
  GPIO_InitStruct.Pull = GPIO_NOPULL;
  GPIO_InitStruct.Speed = GPIO_SPEED_FREQ_LOW;
  GPIO_InitStruct.Alternate = GPIO_AF2_TIM3;
  HAL_GPIO_Init(ARDUINO_PWM_D3_GPIO_Port, &GPIO_InitStruct);

  /*Configure GPIO pin : SPDIF_RX0_Pin */
  GPIO_InitStruct.Pin = SPDIF_RX0_Pin;
  GPIO_InitStruct.Mode = GPIO_MODE_AF_PP;
  GPIO_InitStruct.Pull = GPIO_NOPULL;
  GPIO_InitStruct.Speed = GPIO_SPEED_FREQ_LOW;
  GPIO_InitStruct.Alternate = GPIO_AF8_SPDIFRX;
  HAL_GPIO_Init(SPDIF_RX0_GPIO_Port, &GPIO_InitStruct);

  /*Configure GPIO pins : SDMMC_CK_Pin SDMMC_D3_Pin SDMMC_D2_Pin PC9
                           PC8 */
  GPIO_InitStruct.Pin = SDMMC_CK_Pin|SDMMC_D3_Pin|SDMMC_D2_Pin|GPIO_PIN_9
                          |GPIO_PIN_8;
  GPIO_InitStruct.Mode = GPIO_MODE_AF_PP;
  GPIO_InitStruct.Pull = GPIO_NOPULL;
  GPIO_InitStruct.Speed = GPIO_SPEED_FREQ_VERY_HIGH;
  GPIO_InitStruct.Alternate = GPIO_AF12_SDMMC1;
  HAL_GPIO_Init(GPIOC, &GPIO_InitStruct);

  /*Configure GPIO pin : ARDUINO_PWM_D9_Pin */
  GPIO_InitStruct.Pin = ARDUINO_PWM_D9_Pin;
  GPIO_InitStruct.Mode = GPIO_MODE_AF_PP;
  GPIO_InitStruct.Pull = GPIO_NOPULL;
  GPIO_InitStruct.Speed = GPIO_SPEED_FREQ_LOW;
  GPIO_InitStruct.Alternate = GPIO_AF1_TIM2;
  HAL_GPIO_Init(ARDUINO_PWM_D9_GPIO_Port, &GPIO_InitStruct);

  /*Configure GPIO pins : DCMI_D6_Pin DCMI_D7_Pin */
  GPIO_InitStruct.Pin = DCMI_D6_Pin|DCMI_D7_Pin;
  GPIO_InitStruct.Mode = GPIO_MODE_AF_PP;
  GPIO_InitStruct.Pull = GPIO_NOPULL;
  GPIO_InitStruct.Speed = GPIO_SPEED_FREQ_LOW;
  GPIO_InitStruct.Alternate = GPIO_AF13_DCMI;
  HAL_GPIO_Init(GPIOE, &GPIO_InitStruct);

  /*Configure GPIO pin : VCP_RX_Pin */
  GPIO_InitStruct.Pin = VCP_RX_Pin;
  GPIO_InitStruct.Mode = GPIO_MODE_AF_PP;
  GPIO_InitStruct.Pull = GPIO_NOPULL;
  GPIO_InitStruct.Speed = GPIO_SPEED_FREQ_LOW;
  GPIO_InitStruct.Alternate = GPIO_AF7_USART1;
  HAL_GPIO_Init(VCP_RX_GPIO_Port, &GPIO_InitStruct);

  /*Configure GPIO pin : QSPI_NCS_Pin */
  GPIO_InitStruct.Pin = QSPI_NCS_Pin;
  GPIO_InitStruct.Mode = GPIO_MODE_AF_PP;
  GPIO_InitStruct.Pull = GPIO_NOPULL;
  GPIO_InitStruct.Speed = GPIO_SPEED_FREQ_VERY_HIGH;
  GPIO_InitStruct.Alternate = GPIO_AF10_QUADSPI;
  HAL_GPIO_Init(QSPI_NCS_GPIO_Port, &GPIO_InitStruct);

  /*Configure GPIO pins : FMC_SDNCAS_Pin FMC_SDCLK_Pin FMC_A11_Pin FMC_A10_Pin
                           FMC_BA1_Pin FMC_BA0_Pin */
  GPIO_InitStruct.Pin = FMC_SDNCAS_Pin|FMC_SDCLK_Pin|FMC_A11_Pin|FMC_A10_Pin
                          |FMC_BA1_Pin|FMC_BA0_Pin;
  GPIO_InitStruct.Mode = GPIO_MODE_AF_PP;
  GPIO_InitStruct.Pull = GPIO_NOPULL;
  GPIO_InitStruct.Speed = GPIO_SPEED_FREQ_VERY_HIGH;
  GPIO_InitStruct.Alternate = GPIO_AF12_FMC;
  HAL_GPIO_Init(GPIOG, &GPIO_InitStruct);

  /*Configure GPIO pins : LCD_B1_Pin LCD_B2_Pin LCD_B3_Pin LCD_G4_Pin
                           LCD_G1_Pin LCD_G3_Pin LCD_G0_Pin LCD_G2_Pin
                           LCD_R7_Pin LCD_R5_Pin LCD_R6_Pin LCD_R4_Pin
                           LCD_R3_Pin LCD_R1_Pin LCD_R2_Pin */
  GPIO_InitStruct.Pin = LCD_B1_Pin|LCD_B2_Pin|LCD_B3_Pin|LCD_G4_Pin
                          |LCD_G1_Pin|LCD_G3_Pin|LCD_G0_Pin|LCD_G2_Pin
                          |LCD_R7_Pin|LCD_R5_Pin|LCD_R6_Pin|LCD_R4_Pin
                          |LCD_R3_Pin|LCD_R1_Pin|LCD_R2_Pin;
  GPIO_InitStruct.Mode = GPIO_MODE_AF_PP;
  GPIO_InitStruct.Pull = GPIO_NOPULL;
  GPIO_InitStruct.Speed = GPIO_SPEED_FREQ_LOW;
  GPIO_InitStruct.Alternate = GPIO_AF14_LTDC;
  HAL_GPIO_Init(GPIOJ, &GPIO_InitStruct);

  /*Configure GPIO pin : OTG_FS_VBUS_Pin */
  GPIO_InitStruct.Pin = OTG_FS_VBUS_Pin;
  GPIO_InitStruct.Mode = GPIO_MODE_INPUT;
  GPIO_InitStruct.Pull = GPIO_NOPULL;
  HAL_GPIO_Init(OTG_FS_VBUS_GPIO_Port, &GPIO_InitStruct);

  /*Configure GPIO pin : Audio_INT_Pin */
  GPIO_InitStruct.Pin = Audio_INT_Pin;
  GPIO_InitStruct.Mode = GPIO_MODE_EVT_RISING;
  GPIO_InitStruct.Pull = GPIO_NOPULL;
  HAL_GPIO_Init(Audio_INT_GPIO_Port, &GPIO_InitStruct);

  /*Configure GPIO pins : FMC_D2_Pin FMC_D3_Pin FMC_D1_Pin FMC_D15_Pin
                           FMC_D0_Pin FMC_D14_Pin FMC_D13_Pin */
  GPIO_InitStruct.Pin = FMC_D2_Pin|FMC_D3_Pin|FMC_D1_Pin|FMC_D15_Pin
                          |FMC_D0_Pin|FMC_D14_Pin|FMC_D13_Pin;
  GPIO_InitStruct.Mode = GPIO_MODE_AF_PP;
  GPIO_InitStruct.Pull = GPIO_NOPULL;
  GPIO_InitStruct.Speed = GPIO_SPEED_FREQ_VERY_HIGH;
  GPIO_InitStruct.Alternate = GPIO_AF12_FMC;
  HAL_GPIO_Init(GPIOD, &GPIO_InitStruct);

  /*Configure GPIO pins : OTG_FS_P_Pin OTG_FS_N_Pin OTG_FS_ID_Pin */
  GPIO_InitStruct.Pin = OTG_FS_P_Pin|OTG_FS_N_Pin|OTG_FS_ID_Pin;
  GPIO_InitStruct.Mode = GPIO_MODE_AF_PP;
  GPIO_InitStruct.Pull = GPIO_NOPULL;
  GPIO_InitStruct.Speed = GPIO_SPEED_FREQ_VERY_HIGH;
  GPIO_InitStruct.Alternate = GPIO_AF10_OTG_FS;
  HAL_GPIO_Init(GPIOA, &GPIO_InitStruct);

  /*Configure GPIO pins : SAI2_MCLKA_Pin SAI2_SCKA_Pin SAI2_FSA_Pin SAI2_SDA_Pin */
  GPIO_InitStruct.Pin = SAI2_MCLKA_Pin|SAI2_SCKA_Pin|SAI2_FSA_Pin|SAI2_SDA_Pin;
  GPIO_InitStruct.Mode = GPIO_MODE_AF_PP;
  GPIO_InitStruct.Pull = GPIO_NOPULL;
  GPIO_InitStruct.Speed = GPIO_SPEED_FREQ_LOW;
  GPIO_InitStruct.Alternate = GPIO_AF10_SAI2;
  HAL_GPIO_Init(GPIOI, &GPIO_InitStruct);

  /*Configure GPIO pins : LCD_DE_Pin LCD_B7_Pin LCD_B6_Pin LCD_B5_Pin
                           LCD_G6_Pin LCD_G7_Pin LCD_G5_Pin */
  GPIO_InitStruct.Pin = LCD_DE_Pin|LCD_B7_Pin|LCD_B6_Pin|LCD_B5_Pin
                          |LCD_G6_Pin|LCD_G7_Pin|LCD_G5_Pin;
  GPIO_InitStruct.Mode = GPIO_MODE_AF_PP;
  GPIO_InitStruct.Pull = GPIO_NOPULL;
  GPIO_InitStruct.Speed = GPIO_SPEED_FREQ_LOW;
  GPIO_InitStruct.Alternate = GPIO_AF14_LTDC;
  HAL_GPIO_Init(GPIOK, &GPIO_InitStruct);

  /*Configure GPIO pin : LCD_B4_Pin */
  GPIO_InitStruct.Pin = LCD_B4_Pin;
  GPIO_InitStruct.Mode = GPIO_MODE_AF_PP;
  GPIO_InitStruct.Pull = GPIO_NOPULL;
  GPIO_InitStruct.Speed = GPIO_SPEED_FREQ_LOW;
  GPIO_InitStruct.Alternate = GPIO_AF9_LTDC;
  HAL_GPIO_Init(LCD_B4_GPIO_Port, &GPIO_InitStruct);

  /*Configure GPIO pin : SAI2_SDB_Pin */
  GPIO_InitStruct.Pin = SAI2_SDB_Pin;
  GPIO_InitStruct.Mode = GPIO_MODE_AF_PP;
  GPIO_InitStruct.Pull = GPIO_NOPULL;
  GPIO_InitStruct.Speed = GPIO_SPEED_FREQ_LOW;
  GPIO_InitStruct.Alternate = GPIO_AF10_SAI2;
  HAL_GPIO_Init(SAI2_SDB_GPIO_Port, &GPIO_InitStruct);

  /*Configure GPIO pin : OTG_FS_PowerSwitchOn_Pin */
  GPIO_InitStruct.Pin = OTG_FS_PowerSwitchOn_Pin;
  GPIO_InitStruct.Mode = GPIO_MODE_OUTPUT_PP;
  GPIO_InitStruct.Pull = GPIO_NOPULL;
  GPIO_InitStruct.Speed = GPIO_SPEED_FREQ_LOW;
  HAL_GPIO_Init(OTG_FS_PowerSwitchOn_GPIO_Port, &GPIO_InitStruct);

  /*Configure GPIO pin : DCMI_D5_Pin */
  GPIO_InitStruct.Pin = DCMI_D5_Pin;
  GPIO_InitStruct.Mode = GPIO_MODE_AF_PP;
  GPIO_InitStruct.Pull = GPIO_NOPULL;
  GPIO_InitStruct.Speed = GPIO_SPEED_FREQ_LOW;
  GPIO_InitStruct.Alternate = GPIO_AF13_DCMI;
  HAL_GPIO_Init(DCMI_D5_GPIO_Port, &GPIO_InitStruct);

  /*Configure GPIO pins : ARDUINO_D7_Pin ARDUINO_D8_Pin LCD_DISP_Pin */
  GPIO_InitStruct.Pin = ARDUINO_D7_Pin|ARDUINO_D8_Pin|LCD_DISP_Pin;
  GPIO_InitStruct.Mode = GPIO_MODE_OUTPUT_PP;
  GPIO_InitStruct.Pull = GPIO_NOPULL;
  GPIO_InitStruct.Speed = GPIO_SPEED_FREQ_LOW;
  HAL_GPIO_Init(GPIOI, &GPIO_InitStruct);

  /*Configure GPIO pin : uSD_Detect_Pin */
  GPIO_InitStruct.Pin = uSD_Detect_Pin;
  GPIO_InitStruct.Mode = GPIO_MODE_INPUT;
  GPIO_InitStruct.Pull = GPIO_NOPULL;
  HAL_GPIO_Init(uSD_Detect_GPIO_Port, &GPIO_InitStruct);

  /*Configure GPIO pins : FMC_A0_Pin FMC_A1_Pin FMC_A2_Pin FMC_A3_Pin
                           FMC_A4_Pin FMC_A5_Pin FMC_A6_Pin FMC_A9_Pin
                           FMC_A7_Pin FMC_A8_Pin FMC_SDNRAS_Pin */
  GPIO_InitStruct.Pin = FMC_A0_Pin|FMC_A1_Pin|FMC_A2_Pin|FMC_A3_Pin
                          |FMC_A4_Pin|FMC_A5_Pin|FMC_A6_Pin|FMC_A9_Pin
                          |FMC_A7_Pin|FMC_A8_Pin|FMC_SDNRAS_Pin;
  GPIO_InitStruct.Mode = GPIO_MODE_AF_PP;
  GPIO_InitStruct.Pull = GPIO_NOPULL;
  GPIO_InitStruct.Speed = GPIO_SPEED_FREQ_VERY_HIGH;
  GPIO_InitStruct.Alternate = GPIO_AF12_FMC;
  HAL_GPIO_Init(GPIOF, &GPIO_InitStruct);

  /*Configure GPIO pins : LCD_HSYNC_Pin LCD_VSYNC_Pin LCD_R0_Pin LCD_CLK_Pin */
  GPIO_InitStruct.Pin = LCD_HSYNC_Pin|LCD_VSYNC_Pin|LCD_R0_Pin|LCD_CLK_Pin;
  GPIO_InitStruct.Mode = GPIO_MODE_AF_PP;
  GPIO_InitStruct.Pull = GPIO_NOPULL;
  GPIO_InitStruct.Speed = GPIO_SPEED_FREQ_LOW;
  GPIO_InitStruct.Alternate = GPIO_AF14_LTDC;
  HAL_GPIO_Init(GPIOI, &GPIO_InitStruct);

  /*Configure GPIO pin : LCD_BL_CTRL_Pin */
  GPIO_InitStruct.Pin = LCD_BL_CTRL_Pin;
  GPIO_InitStruct.Mode = GPIO_MODE_OUTPUT_PP;
  GPIO_InitStruct.Pull = GPIO_NOPULL;
  GPIO_InitStruct.Speed = GPIO_SPEED_FREQ_LOW;
  HAL_GPIO_Init(LCD_BL_CTRL_GPIO_Port, &GPIO_InitStruct);

  /*Configure GPIO pin : DCMI_VSYNC_Pin */
  GPIO_InitStruct.Pin = DCMI_VSYNC_Pin;
  GPIO_InitStruct.Mode = GPIO_MODE_AF_PP;
  GPIO_InitStruct.Pull = GPIO_NOPULL;
  GPIO_InitStruct.Speed = GPIO_SPEED_FREQ_LOW;
  GPIO_InitStruct.Alternate = GPIO_AF13_DCMI;
  HAL_GPIO_Init(DCMI_VSYNC_GPIO_Port, &GPIO_InitStruct);

  /*Configure GPIO pin : OTG_FS_OverCurrent_Pin */
  GPIO_InitStruct.Pin = OTG_FS_OverCurrent_Pin;
  GPIO_InitStruct.Mode = GPIO_MODE_INPUT;
  GPIO_InitStruct.Pull = GPIO_NOPULL;
  HAL_GPIO_Init(OTG_FS_OverCurrent_GPIO_Port, &GPIO_InitStruct);

  /*Configure GPIO pin : SDMMC_D0_Pin */
  GPIO_InitStruct.Pin = SDMMC_D0_Pin;
  GPIO_InitStruct.Mode = GPIO_MODE_AF_PP;
  GPIO_InitStruct.Pull = GPIO_NOPULL;
  GPIO_InitStruct.Speed = GPIO_SPEED_FREQ_VERY_HIGH;
  GPIO_InitStruct.Alternate = GPIO_AF12_SDMMC1;
  HAL_GPIO_Init(SDMMC_D0_GPIO_Port, &GPIO_InitStruct);

  /*Configure GPIO pins : TP3_Pin NC2_Pin */
  GPIO_InitStruct.Pin = TP3_Pin|NC2_Pin;
  GPIO_InitStruct.Mode = GPIO_MODE_INPUT;
  GPIO_InitStruct.Pull = GPIO_NOPULL;
  HAL_GPIO_Init(GPIOH, &GPIO_InitStruct);

  /*Configure GPIO pin : ARDUINO_SCK_D13_Pin */
  GPIO_InitStruct.Pin = ARDUINO_SCK_D13_Pin;
  GPIO_InitStruct.Mode = GPIO_MODE_AF_PP;
  GPIO_InitStruct.Pull = GPIO_NOPULL;
  GPIO_InitStruct.Speed = GPIO_SPEED_FREQ_LOW;
  GPIO_InitStruct.Alternate = GPIO_AF5_SPI2;
  HAL_GPIO_Init(ARDUINO_SCK_D13_GPIO_Port, &GPIO_InitStruct);

  /*Configure GPIO pin : DCMI_PWR_EN_Pin */
  GPIO_InitStruct.Pin = DCMI_PWR_EN_Pin;
  GPIO_InitStruct.Mode = GPIO_MODE_OUTPUT_PP;
  GPIO_InitStruct.Pull = GPIO_NOPULL;
  GPIO_InitStruct.Speed = GPIO_SPEED_FREQ_LOW;
  HAL_GPIO_Init(DCMI_PWR_EN_GPIO_Port, &GPIO_InitStruct);

  /*Configure GPIO pins : DCMI_D4_Pin DCMI_D3_Pin DCMI_D0_Pin DCMI_D2_Pin
                           DCMI_D1_Pin */
  GPIO_InitStruct.Pin = DCMI_D4_Pin|DCMI_D3_Pin|DCMI_D0_Pin|DCMI_D2_Pin
                          |DCMI_D1_Pin;
  GPIO_InitStruct.Mode = GPIO_MODE_AF_PP;
  GPIO_InitStruct.Pull = GPIO_NOPULL;
  GPIO_InitStruct.Speed = GPIO_SPEED_FREQ_LOW;
  GPIO_InitStruct.Alternate = GPIO_AF13_DCMI;
  HAL_GPIO_Init(GPIOH, &GPIO_InitStruct);

  /*Configure GPIO pin : ARDUINO_PWM_CS_D5_Pin */
  GPIO_InitStruct.Pin = ARDUINO_PWM_CS_D5_Pin;
  GPIO_InitStruct.Mode = GPIO_MODE_AF_PP;
  GPIO_InitStruct.Pull = GPIO_NOPULL;
  GPIO_InitStruct.Speed = GPIO_SPEED_FREQ_LOW;
  GPIO_InitStruct.Alternate = GPIO_AF2_TIM5;
  HAL_GPIO_Init(ARDUINO_PWM_CS_D5_GPIO_Port, &GPIO_InitStruct);

  /*Configure GPIO pin : VCP_TX_Pin */
  GPIO_InitStruct.Pin = VCP_TX_Pin;
  GPIO_InitStruct.Mode = GPIO_MODE_AF_PP;
  GPIO_InitStruct.Pull = GPIO_NOPULL;
  GPIO_InitStruct.Speed = GPIO_SPEED_FREQ_LOW;
  GPIO_InitStruct.Alternate = GPIO_AF7_USART1;
  HAL_GPIO_Init(VCP_TX_GPIO_Port, &GPIO_InitStruct);

  /*Configure GPIO pin : ARDUINO_PWM_D10_Pin */
  GPIO_InitStruct.Pin = ARDUINO_PWM_D10_Pin;
  GPIO_InitStruct.Mode = GPIO_MODE_AF_PP;
  GPIO_InitStruct.Pull = GPIO_NOPULL;
  GPIO_InitStruct.Speed = GPIO_SPEED_FREQ_LOW;
  GPIO_InitStruct.Alternate = GPIO_AF1_TIM1;
  HAL_GPIO_Init(ARDUINO_PWM_D10_GPIO_Port, &GPIO_InitStruct);

  /*Configure GPIO pin : LCD_INT_Pin */
  GPIO_InitStruct.Pin = LCD_INT_Pin;
  GPIO_InitStruct.Mode = GPIO_MODE_EVT_RISING;
  GPIO_InitStruct.Pull = GPIO_NOPULL;
  HAL_GPIO_Init(LCD_INT_GPIO_Port, &GPIO_InitStruct);

  /*Configure GPIO pins : ARDUINO_RX_D0_Pin ARDUINO_TX_D1_Pin */
  GPIO_InitStruct.Pin = ARDUINO_RX_D0_Pin|ARDUINO_TX_D1_Pin;
  GPIO_InitStruct.Mode = GPIO_MODE_AF_PP;
  GPIO_InitStruct.Pull = GPIO_NOPULL;
  GPIO_InitStruct.Speed = GPIO_SPEED_FREQ_VERY_HIGH;
  GPIO_InitStruct.Alternate = GPIO_AF8_USART6;
  HAL_GPIO_Init(GPIOC, &GPIO_InitStruct);

  /*Configure GPIO pin : ULPI_NXT_Pin */
  GPIO_InitStruct.Pin = ULPI_NXT_Pin;
  GPIO_InitStruct.Mode = GPIO_MODE_AF_PP;
  GPIO_InitStruct.Pull = GPIO_NOPULL;
  GPIO_InitStruct.Speed = GPIO_SPEED_FREQ_VERY_HIGH;
  GPIO_InitStruct.Alternate = GPIO_AF10_OTG_HS;
  HAL_GPIO_Init(ULPI_NXT_GPIO_Port, &GPIO_InitStruct);

  /*Configure GPIO pins : FMC_SDNME_Pin FMC_SDNE0_Pin */
  GPIO_InitStruct.Pin = FMC_SDNME_Pin|FMC_SDNE0_Pin;
  GPIO_InitStruct.Mode = GPIO_MODE_AF_PP;
  GPIO_InitStruct.Pull = GPIO_NOPULL;
  GPIO_InitStruct.Speed = GPIO_SPEED_FREQ_VERY_HIGH;
  GPIO_InitStruct.Alternate = GPIO_AF12_FMC;
  HAL_GPIO_Init(GPIOH, &GPIO_InitStruct);

  /*Configure GPIO pins : ARDUINO_D4_Pin ARDUINO_D2_Pin EXT_RST_Pin */
  GPIO_InitStruct.Pin = ARDUINO_D4_Pin|ARDUINO_D2_Pin|EXT_RST_Pin;
  GPIO_InitStruct.Mode = GPIO_MODE_OUTPUT_PP;
  GPIO_InitStruct.Pull = GPIO_NOPULL;
  GPIO_InitStruct.Speed = GPIO_SPEED_FREQ_LOW;
  HAL_GPIO_Init(GPIOG, &GPIO_InitStruct);

  /*Configure GPIO pins : ARDUINO_A4_Pin ARDUINO_A5_Pin ARDUINO_A1_Pin ARDUINO_A2_Pin
                           ARDUINO_A3_Pin */
  GPIO_InitStruct.Pin = ARDUINO_A4_Pin|ARDUINO_A5_Pin|ARDUINO_A1_Pin|ARDUINO_A2_Pin
                          |ARDUINO_A3_Pin;
  GPIO_InitStruct.Mode = GPIO_MODE_ANALOG;
  GPIO_InitStruct.Pull = GPIO_NOPULL;
  HAL_GPIO_Init(GPIOF, &GPIO_InitStruct);

  /*Configure GPIO pin : FMC_SDCKE0_Pin */
  GPIO_InitStruct.Pin = FMC_SDCKE0_Pin;
  GPIO_InitStruct.Mode = GPIO_MODE_AF_PP;
  GPIO_InitStruct.Pull = GPIO_NOPULL;
  GPIO_InitStruct.Speed = GPIO_SPEED_FREQ_VERY_HIGH;
  GPIO_InitStruct.Alternate = GPIO_AF12_FMC;
  HAL_GPIO_Init(FMC_SDCKE0_GPIO_Port, &GPIO_InitStruct);

  /*Configure GPIO pins : ULPI_STP_Pin ULPI_DIR_Pin */
  GPIO_InitStruct.Pin = ULPI_STP_Pin|ULPI_DIR_Pin;
  GPIO_InitStruct.Mode = GPIO_MODE_AF_PP;
  GPIO_InitStruct.Pull = GPIO_NOPULL;
  GPIO_InitStruct.Speed = GPIO_SPEED_FREQ_VERY_HIGH;
  GPIO_InitStruct.Alternate = GPIO_AF10_OTG_HS;
  HAL_GPIO_Init(GPIOC, &GPIO_InitStruct);

  /*Configure GPIO pins : RMII_MDC_Pin RMII_RXD0_Pin RMII_RXD1_Pin */
  GPIO_InitStruct.Pin = RMII_MDC_Pin|RMII_RXD0_Pin|RMII_RXD1_Pin;
  GPIO_InitStruct.Mode = GPIO_MODE_AF_PP;
  GPIO_InitStruct.Pull = GPIO_NOPULL;
  GPIO_InitStruct.Speed = GPIO_SPEED_FREQ_VERY_HIGH;
  GPIO_InitStruct.Alternate = GPIO_AF11_ETH;
  HAL_GPIO_Init(GPIOC, &GPIO_InitStruct);

  /*Configure GPIO pin : PB2 */
  GPIO_InitStruct.Pin = GPIO_PIN_2;
  GPIO_InitStruct.Mode = GPIO_MODE_AF_PP;
  GPIO_InitStruct.Pull = GPIO_NOPULL;
  GPIO_InitStruct.Speed = GPIO_SPEED_FREQ_VERY_HIGH;
  GPIO_InitStruct.Alternate = GPIO_AF9_QUADSPI;
  HAL_GPIO_Init(GPIOB, &GPIO_InitStruct);

  /*Configure GPIO pins : QSPI_D1_Pin QSPI_D3_Pin QSPI_D0_Pin */
  GPIO_InitStruct.Pin = QSPI_D1_Pin|QSPI_D3_Pin|QSPI_D0_Pin;
  GPIO_InitStruct.Mode = GPIO_MODE_AF_PP;
  GPIO_InitStruct.Pull = GPIO_NOPULL;
  GPIO_InitStruct.Speed = GPIO_SPEED_FREQ_VERY_HIGH;
  GPIO_InitStruct.Alternate = GPIO_AF9_QUADSPI;
  HAL_GPIO_Init(GPIOD, &GPIO_InitStruct);

  /*Configure GPIO pin : RMII_RXER_Pin */
  GPIO_InitStruct.Pin = RMII_RXER_Pin;
  GPIO_InitStruct.Mode = GPIO_MODE_INPUT;
  GPIO_InitStruct.Pull = GPIO_NOPULL;
  HAL_GPIO_Init(RMII_RXER_GPIO_Port, &GPIO_InitStruct);

  /*Configure GPIO pins : RMII_REF_CLK_Pin RMII_MDIO_Pin RMII_CRS_DV_Pin */
  GPIO_InitStruct.Pin = RMII_REF_CLK_Pin|RMII_MDIO_Pin|RMII_CRS_DV_Pin;
  GPIO_InitStruct.Mode = GPIO_MODE_AF_PP;
  GPIO_InitStruct.Pull = GPIO_NOPULL;
  GPIO_InitStruct.Speed = GPIO_SPEED_FREQ_VERY_HIGH;
  GPIO_InitStruct.Alternate = GPIO_AF11_ETH;
  HAL_GPIO_Init(GPIOA, &GPIO_InitStruct);

  /*Configure GPIO pin : ARDUINO_A0_Pin */
  GPIO_InitStruct.Pin = ARDUINO_A0_Pin;
  GPIO_InitStruct.Mode = GPIO_MODE_ANALOG;
  GPIO_InitStruct.Pull = GPIO_NOPULL;
  HAL_GPIO_Init(ARDUINO_A0_GPIO_Port, &GPIO_InitStruct);

  /*Configure GPIO pins : DCMI_HSYNC_Pin PA6 */
  GPIO_InitStruct.Pin = DCMI_HSYNC_Pin|GPIO_PIN_6;
  GPIO_InitStruct.Mode = GPIO_MODE_AF_PP;
  GPIO_InitStruct.Pull = GPIO_NOPULL;
  GPIO_InitStruct.Speed = GPIO_SPEED_FREQ_LOW;
  GPIO_InitStruct.Alternate = GPIO_AF13_DCMI;
  HAL_GPIO_Init(GPIOA, &GPIO_InitStruct);

  /*Configure GPIO pins : LCD_SCL_Pin LCD_SDA_Pin */
  GPIO_InitStruct.Pin = LCD_SCL_Pin|LCD_SDA_Pin;
  GPIO_InitStruct.Mode = GPIO_MODE_AF_OD;
  GPIO_InitStruct.Pull = GPIO_NOPULL;
  GPIO_InitStruct.Speed = GPIO_SPEED_FREQ_VERY_HIGH;
  GPIO_InitStruct.Alternate = GPIO_AF4_I2C3;
  HAL_GPIO_Init(GPIOH, &GPIO_InitStruct);

  /*Configure GPIO pins : ULPI_CLK_Pin ULPI_D0_Pin */
  GPIO_InitStruct.Pin = ULPI_CLK_Pin|ULPI_D0_Pin;
  GPIO_InitStruct.Mode = GPIO_MODE_AF_PP;
  GPIO_InitStruct.Pull = GPIO_NOPULL;
  GPIO_InitStruct.Speed = GPIO_SPEED_FREQ_VERY_HIGH;
  GPIO_InitStruct.Alternate = GPIO_AF10_OTG_HS;
  HAL_GPIO_Init(GPIOA, &GPIO_InitStruct);

  /*Configure GPIO pin : ARDUINO_PWM_D6_Pin */
  GPIO_InitStruct.Pin = ARDUINO_PWM_D6_Pin;
  GPIO_InitStruct.Mode = GPIO_MODE_AF_PP;
  GPIO_InitStruct.Pull = GPIO_NOPULL;
  GPIO_InitStruct.Speed = GPIO_SPEED_FREQ_LOW;
  GPIO_InitStruct.Alternate = GPIO_AF9_TIM12;
  HAL_GPIO_Init(ARDUINO_PWM_D6_GPIO_Port, &GPIO_InitStruct);

  /*Configure GPIO pin : ARDUINO_MOSI_PWM_D11_Pin */
  GPIO_InitStruct.Pin = ARDUINO_MOSI_PWM_D11_Pin;
  GPIO_InitStruct.Mode = GPIO_MODE_AF_PP;
  GPIO_InitStruct.Pull = GPIO_NOPULL;
  GPIO_InitStruct.Speed = GPIO_SPEED_FREQ_LOW;
  GPIO_InitStruct.Alternate = GPIO_AF5_SPI2;
  HAL_GPIO_Init(ARDUINO_MOSI_PWM_D11_GPIO_Port, &GPIO_InitStruct);

}

/* USER CODE BEGIN 4 */
static void task1_handler (void* parameters)
{
#if (SYSVIEW_RTT == 1 || SYSVIEW_ONE_SHOT == 1)
	char msg[100];
#endif
	while(1)
	{
#if (SYSVIEW_RTT == 1 || SYSVIEW_ONE_SHOT == 1)
		sprintf(msg,100,"%s\n",(char*)parameters);
		SEGGER_SYSVIEW_PrintfTarget(msg);
		HAL_GPIO_TogglePin(GPIOB, LED_GREEN_Pin);
		HAL_Delay(1000);
#else
		printf("%s\n", (char*)parameters);
#endif
	}
}

static void task2_handler (void* parameters)
{
#if (SYSVIEW_RTT == 1 || SYSVIEW_ONE_SHOT == 1)
	char msg[100];
#endif
	while(1)
	{
#if (SYSVIEW_RTT == 1 || SYSVIEW_ONE_SHOT == 1)
		sprintf(msg,100,"%s\n",(char*)parameters);
		SEGGER_SYSVIEW_PrintfTarget(msg);
		HAL_GPIO_TogglePin(GPIOB, LED_RED_Pin);
		HAL_Delay(500);
#else
		printf("%s\n", (char*)parameters);
#endif
	}
}
/* USER CODE END 4 */

void HAL_TIM_PeriodElapsedCallback(TIM_HandleTypeDef *htim)
{
  if (htim->Instance == TIM6) {
    HAL_IncTick();
  }
}

void Error_Handler(void)
{
  __disable_irq();
  while (1)
  {
  }
}
